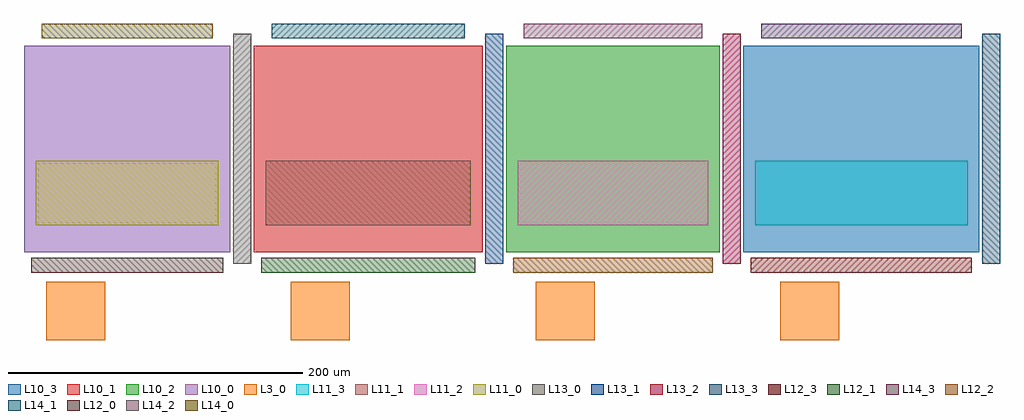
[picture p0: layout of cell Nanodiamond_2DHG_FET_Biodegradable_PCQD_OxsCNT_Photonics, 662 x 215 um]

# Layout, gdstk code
import gdstk
lib = gdstk.Library(unit=1e-6, precision=1e-09)
def R(c, l, rs):  # rectangles x0, y0, x1, y1
    for r in rs: c.add(gdstk.rectangle(r[:2], r[2:], *l))
def A(c, l, x, y, w, h, nx, ny, dx, dy):  # array of equal rectangles
    R(c, l, [(x+i*dx, y+j*dy, x+i*dx+w, y+j*dy+h) for i in range(nx) for j in range(ny)])
L3_0 = (3, 0)
L10_0 = (10, 0)
L10_1 = (10, 1)
L10_2 = (10, 2)
L10_3 = (10, 3)
L11_0 = (11, 0)
L11_1 = (11, 1)
L11_2 = (11, 2)
L11_3 = (11, 3)
L12_0 = (12, 0)
L12_1 = (12, 1)
L12_2 = (12, 2)
L12_3 = (12, 3)
L13_0 = (13, 0)
L13_1 = (13, 1)
L13_2 = (13, 2)
L13_3 = (13, 3)
L14_0 = (14, 0)
L14_1 = (14, 1)
L14_2 = (14, 2)
L14_3 = (14, 3)

nanodiamond_2dhg_fet_bio = lib.new_cell('Nanodiamond_2DHG_FET_Biodegradable_PCQD_OxsCNT_Photonics')
A(nanodiamond_2dhg_fet_bio, L3_0, 15, -60, 40, 40, 4, 1, 166, 0)
R(nanodiamond_2dhg_fet_bio, L10_0, [(0,0,140,140)])
R(nanodiamond_2dhg_fet_bio, L10_1, [(156,0,311,140)])
R(nanodiamond_2dhg_fet_bio, L10_2, [(327,0,472,140)])
R(nanodiamond_2dhg_fet_bio, L10_3, [(488,0,648,140)])
R(nanodiamond_2dhg_fet_bio, L11_0, [(8,18,132,62)])
R(nanodiamond_2dhg_fet_bio, L11_1, [(164,18,303,62)])
R(nanodiamond_2dhg_fet_bio, L11_2, [(335,18,464,62)])
R(nanodiamond_2dhg_fet_bio, L11_3, [(496,18,640,62)])
R(nanodiamond_2dhg_fet_bio, L12_0, [(5,-14,135,-4)])
R(nanodiamond_2dhg_fet_bio, L12_1, [(161,-14,306,-4)])
R(nanodiamond_2dhg_fet_bio, L12_2, [(332,-14,467,-4)])
R(nanodiamond_2dhg_fet_bio, L12_3, [(493,-14,643,-4)])
R(nanodiamond_2dhg_fet_bio, L13_0, [(142,-8,154,148)])
R(nanodiamond_2dhg_fet_bio, L13_1, [(313,-8,325,148)])
R(nanodiamond_2dhg_fet_bio, L13_2, [(474,-8,486,148)])
R(nanodiamond_2dhg_fet_bio, L13_3, [(650,-8,662,148)])
R(nanodiamond_2dhg_fet_bio, L14_0, [(12,145,128,155)])
R(nanodiamond_2dhg_fet_bio, L14_1, [(168,145,299,155)])
R(nanodiamond_2dhg_fet_bio, L14_2, [(339,145,460,155)])
R(nanodiamond_2dhg_fet_bio, L14_3, [(500,145,636,155)])

lib.write_gds('Nanodiamond_2DHG_FET_Biodegradable_PCQD_OxsCNT_Photonics.gds')
